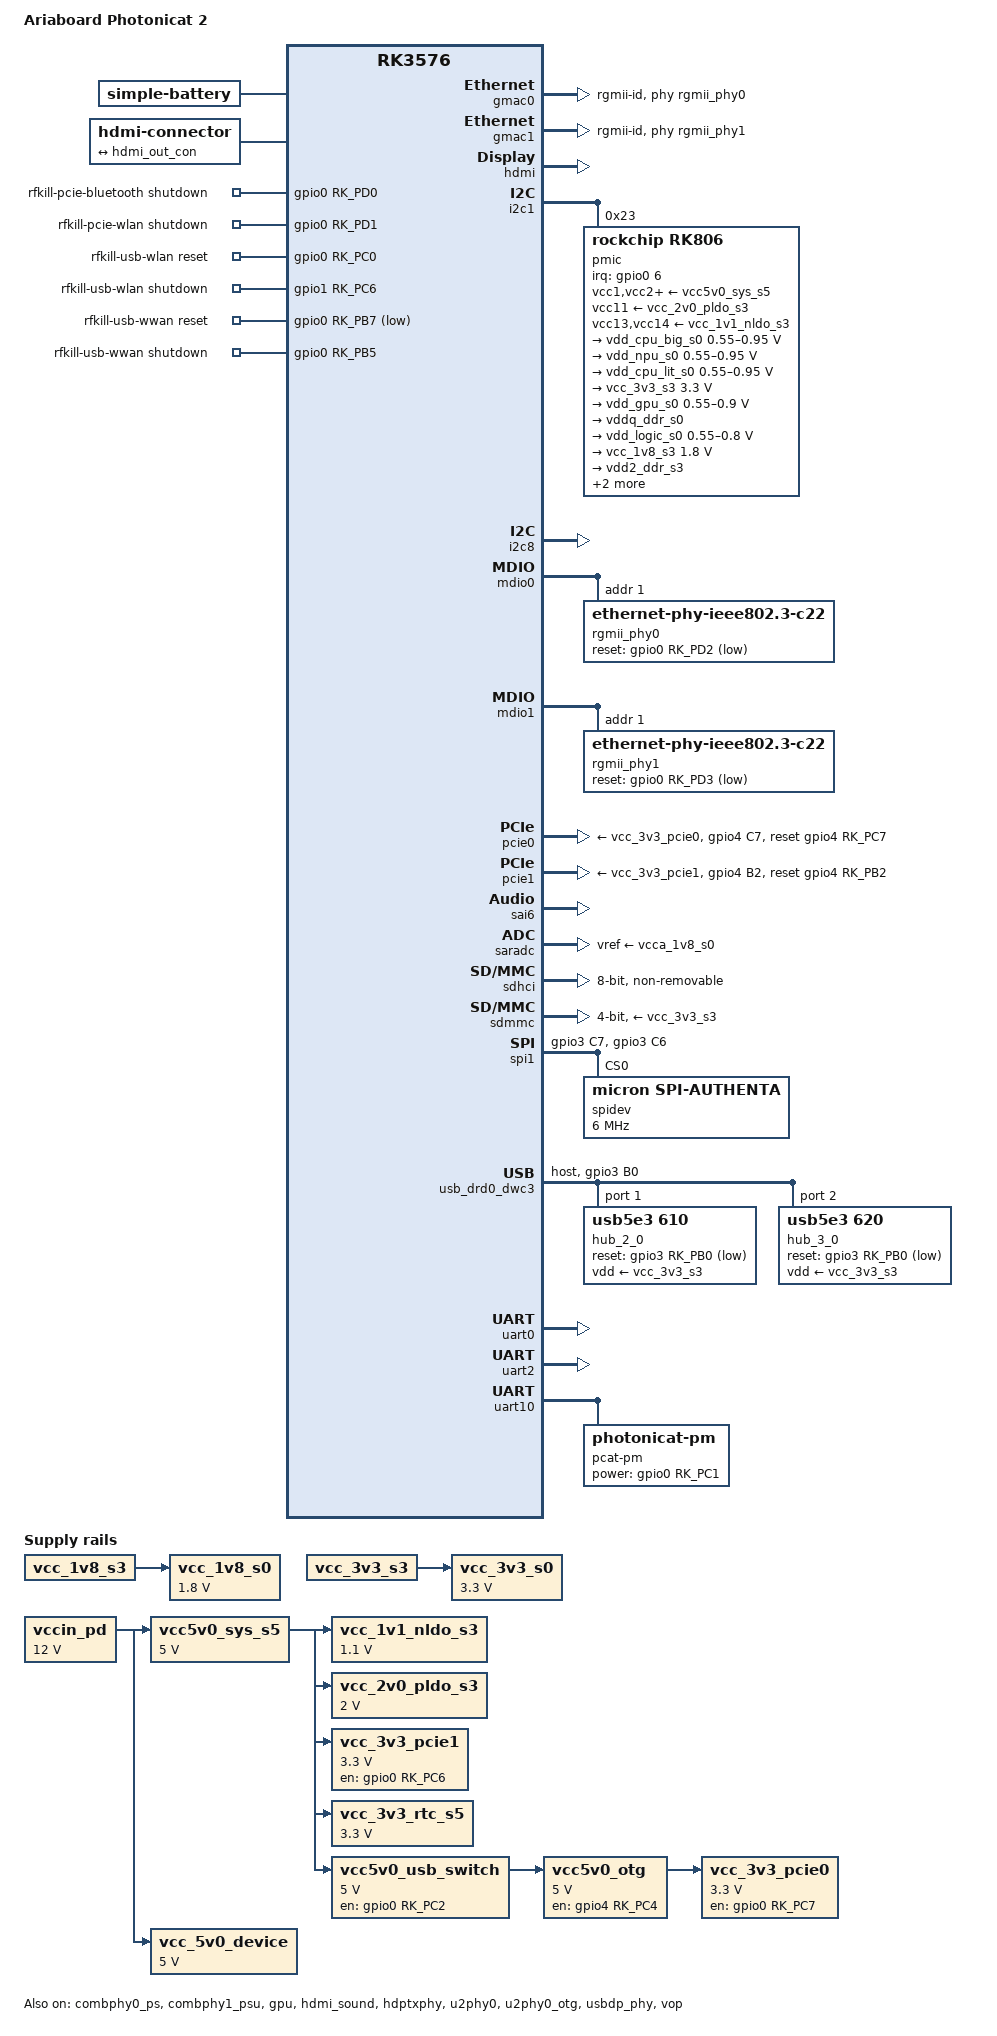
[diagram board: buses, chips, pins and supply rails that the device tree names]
// SPDX-License-Identifier: GPL-2.0-or-later OR MIT
/*
 * Copyright (c) 2024 Rockchip Electronics Co., Ltd.
 */

/dts-v1/;
#include <dt-bindings/gpio/gpio.h>
#include <dt-bindings/input/input.h>
#include <dt-bindings/leds/common.h>
#include <dt-bindings/pwm/pwm.h>
#include <dt-bindings/pinctrl/rockchip.h>
#include <dt-bindings/soc/rockchip,vop2.h>

#include "rk3576.dtsi"

/ {
	model = "Ariaboard Photonicat 2";
	compatible = "ariaboard,photonicat2", "rockchip,rk3576";

	aliases {
		ethernet0 = &gmac0;
		ethernet1 = &gmac1;
		mmc0 = &sdhci;
		mmc1 = &sdmmc;
	};

	chosen {
		stdout-path = "serial0:1500000n8";
	};

	battery: battery {
		compatible = "simple-battery";
		device-chemistry = "lithium-ion";
		voltage-min-design-microvolt = <6800000>;
		voltage-max-design-microvolt = <8400000>;
		energy-full-design-microwatt-hours = <51800000>;
		ocv-capacity-celsius = <20>;
		ocv-capacity-table-0 =  <8344000 100>, <8184000 95>, <8070000 90>, <7980000 85>,
					<7878000 80>, <7790000 75>, <7704000 70>, <7614000 65>,
					<7524000 60>, <7426000 55>, <7344000 50>, <7294000 45>,
					<7258000 40>, <7226000 35>, <7196000 30>, <7156000 25>,
					<7100000 20>, <7038000 15>, <6958000 10>, <6876000 5>,
					<6800000 0>;
	};

	hdmi-con {
		compatible = "hdmi-connector";
		type = "a";

		port {
			hdmi_con_in: endpoint {
				remote-endpoint = <&hdmi_out_con>;
			};
		};
	};

	vccin_pd: regulator-vccin-pd {
		compatible = "regulator-fixed";
		regulator-name = "vccin_pd";
		regulator-always-on;
		regulator-boot-on;
		regulator-min-microvolt = <12000000>;
		regulator-max-microvolt = <12000000>;
	};

	vcc5v0_sys_s5: regulator-vcc5v0-sys-s5 {
		compatible = "regulator-fixed";
		regulator-name = "vcc5v0_sys_s5";
		regulator-always-on;
		regulator-boot-on;
		regulator-min-microvolt = <5000000>;
		regulator-max-microvolt = <5000000>;
		vin-supply = <&vccin_pd>;
	};

	vcc_1v1_nldo_s3: regulator-vcc-1v1-nldo-s3 {
		compatible = "regulator-fixed";
		regulator-name = "vcc_1v1_nldo_s3";
		regulator-always-on;
		regulator-boot-on;
		regulator-min-microvolt = <1100000>;
		regulator-max-microvolt = <1100000>;
		vin-supply = <&vcc5v0_sys_s5>;
	};

	vcc_1v8_s0: regulator-vcc-1v8-s0 {
		compatible = "regulator-fixed";
		regulator-name = "vcc_1v8_s0";
		regulator-always-on;
		regulator-boot-on;
		regulator-min-microvolt = <1800000>;
		regulator-max-microvolt = <1800000>;
		vin-supply = <&vcc_1v8_s3>;
	};

	vcc_2v0_pldo_s3: regulator-vcc-2v0-pldo-s3 {
		compatible = "regulator-fixed";
		regulator-name = "vcc_2v0_pldo_s3";
		regulator-always-on;
		regulator-boot-on;
		regulator-min-microvolt = <2000000>;
		regulator-max-microvolt = <2000000>;
		vin-supply = <&vcc5v0_sys_s5>;
	};

	vcc_3v3_pcie0: regulator-vcc-3v3-pcie0 {
		compatible = "regulator-fixed";
		enable-active-high;
		gpios = <&gpio0 RK_PC7 GPIO_ACTIVE_HIGH>;
		pinctrl-names = "default";
		pinctrl-0 = <&pcie0_pwren_h>;
		regulator-name = "vcc_3v3_pcie0";
		regulator-min-microvolt = <3300000>;
		regulator-max-microvolt = <3300000>;
		startup-delay-us = <5000>;
		vin-supply = <&vcc5v0_otg>;
	};

	vcc_3v3_pcie1: regulator-vcc-3v3-pcie1 {
		compatible = "regulator-fixed";
		enable-active-high;
		gpios = <&gpio0 RK_PC6 GPIO_ACTIVE_HIGH>;
		pinctrl-names = "default";
		pinctrl-0 = <&pcie1_pwren_h>;
		regulator-name = "vcc_3v3_pcie1";
		regulator-min-microvolt = <3300000>;
		regulator-max-microvolt = <3300000>;
		startup-delay-us = <5000>;
		vin-supply = <&vcc5v0_sys_s5>;
	};

	vcc_3v3_rtc_s5: regulator-vcc-3v3-rtc-s5 {
		compatible = "regulator-fixed";
		regulator-name = "vcc_3v3_rtc_s5";
		regulator-always-on;
		regulator-boot-on;
		regulator-min-microvolt = <3300000>;
		regulator-max-microvolt = <3300000>;
		vin-supply = <&vcc5v0_sys_s5>;
	};

	vcc_3v3_s0: regulator-vcc-3v3-s0 {
		compatible = "regulator-fixed";
		regulator-name = "vcc_3v3_s0";
		regulator-always-on;
		regulator-boot-on;
		regulator-min-microvolt = <3300000>;
		regulator-max-microvolt = <3300000>;
		vin-supply = <&vcc_3v3_s3>;
	};

	vcc_5v0_device: regulator-vcc-5v0-device {
		compatible = "regulator-fixed";
		regulator-name = "vcc_5v0_device";
		regulator-always-on;
		regulator-boot-on;
		regulator-min-microvolt = <5000000>;
		regulator-max-microvolt = <5000000>;
		vin-supply = <&vccin_pd>;
	};

	vcc5v0_otg: regulator-vcc5v0-otg {
		compatible = "regulator-fixed";
		enable-active-high;
		gpios = <&gpio4 RK_PC4 GPIO_ACTIVE_HIGH>;
		pinctrl-names = "default";
		pinctrl-0 = <&usb_otg0_pwren_h>;
		regulator-name = "vcc5v0_otg";
		regulator-min-microvolt = <5000000>;
		regulator-max-microvolt = <5000000>;
		vin-supply = <&vcc5v0_usb_switch>;
	};

	vcc5v0_usb_switch: vcc5v0-usb-switch {
		compatible = "regulator-fixed";
		regulator-name = "vcc5v0_usb_switch";
		regulator-min-microvolt = <5000000>;
		regulator-max-microvolt = <5000000>;
		enable-active-high;
		gpio = <&gpio0 RK_PC2 GPIO_ACTIVE_HIGH>;
		pinctrl-names = "default";
		pinctrl-0 = <&gpio0_c2>;
		vin-supply = <&vcc5v0_sys_s5>;
	};

	rfkill-pcie-bluetooth {
		compatible = "rfkill-gpio";
		label = "rfkill-pcie-bluetooth";
		pinctrl-names = "default";
		pinctrl-0 = <&m2_bt_en>;
		radio-type = "bluetooth";
		shutdown-gpios = <&gpio0 RK_PD0 GPIO_ACTIVE_HIGH>;
	};

	rfkill-pcie-wlan {
		compatible = "rfkill-gpio";
		label = "rfkill-pcie-wlan";
		pinctrl-names = "default";
		pinctrl-0 = <&m2_wlan_en>;
		radio-type = "wlan";
		shutdown-gpios = <&gpio0 RK_PD1 GPIO_ACTIVE_HIGH>;
	};

	rfkill-usb-wlan {
		compatible = "rfkill-gpio";
		label = "rfkill-usb-wlan";
		pinctrl-names = "default";
		pinctrl-0 = <&rf_pwr_en_n>;
		radio-type = "wlan";
		reset-gpios = <&gpio0 RK_PC0 GPIO_ACTIVE_HIGH>;
		shutdown-gpios = <&gpio1 RK_PC6 GPIO_ACTIVE_HIGH>;
	};

	rfkill-usb-wwan {
		compatible = "rfkill-gpio";
		label = "rfkill-usb-wwan";
		pinctrl-names = "default";
		pinctrl-0 = <&rst_5g_1v8_h>;
		radio-type = "wwan";
		reset-gpios = <&gpio0 RK_PB7 GPIO_ACTIVE_LOW>;
		shutdown-gpios = <&gpio0 RK_PB5 GPIO_ACTIVE_HIGH>;
	};
};

&combphy0_ps {
	status = "okay";
};

&combphy1_psu {
	status = "okay";
};

&cpu_b0 {
	cpu-supply = <&vdd_cpu_big_s0>;
};

&cpu_b1 {
	cpu-supply = <&vdd_cpu_big_s0>;
};

&cpu_b2 {
	cpu-supply = <&vdd_cpu_big_s0>;
};

&cpu_b3 {
	cpu-supply = <&vdd_cpu_big_s0>;
};

&cpu_l0 {
	cpu-supply = <&vdd_cpu_lit_s0>;
};

&cpu_l1 {
	cpu-supply = <&vdd_cpu_lit_s0>;
};

&cpu_l2 {
	cpu-supply = <&vdd_cpu_lit_s0>;
};

&cpu_l3 {
	cpu-supply = <&vdd_cpu_lit_s0>;
};

&gmac0 {
	clock_in_out = "output";
	phy-handle = <&rgmii_phy0>;
	phy-mode = "rgmii-id";
	pinctrl-names = "default";
	pinctrl-0 = <&eth0m1_miim
		     &eth0m1_tx_bus2
		     &eth0m1_rx_bus2
		     &eth0m1_rgmii_clk
		     &eth0m1_rgmii_bus
		     &ethm1_clk0_25m_out>;
	status = "okay";
};

&gmac1 {
	clock_in_out = "output";
	phy-handle = <&rgmii_phy1>;
	phy-mode = "rgmii-id";
	pinctrl-names = "default";
	pinctrl-0 = <&eth1m0_miim
		     &eth1m0_tx_bus2
		     &eth1m0_rx_bus2
		     &eth1m0_rgmii_clk
		     &eth1m0_rgmii_bus
		     &ethm0_clk1_25m_out>;
	status = "okay";
};

&gpu {
	mali-supply = <&vdd_gpu_s0>;
	status = "okay";
};

&hdmi {
	enable-gpios = <&gpio4 RK_PA6 GPIO_ACTIVE_HIGH>;
	status = "okay";
};

&hdmi_in {
	hdmi_in_vp0: endpoint {
		remote-endpoint = <&vp0_out_hdmi>;
	};
};

&hdmi_out {
	hdmi_out_con: endpoint {
		remote-endpoint = <&hdmi_con_in>;
	};
};

&hdmi_sound {
	status = "okay";
};

&hdptxphy {
	status = "okay";
};

&i2c1 {
	status = "okay";

	pmic@23 {
		compatible = "rockchip,rk806";
		reg = <0x23>;
		gpio-controller;
		#gpio-cells = <2>;
		interrupt-parent = <&gpio0>;
		interrupts = <6 IRQ_TYPE_LEVEL_LOW>;
		pinctrl-names = "default";
		pinctrl-0 = <&pmic_pins>, <&rk806_dvs1_null>,
			    <&rk806_dvs2_null>, <&rk806_dvs3_null>;
		system-power-controller;

		vcc1-supply = <&vcc5v0_sys_s5>;
		vcc2-supply = <&vcc5v0_sys_s5>;
		vcc3-supply = <&vcc5v0_sys_s5>;
		vcc4-supply = <&vcc5v0_sys_s5>;
		vcc5-supply = <&vcc5v0_sys_s5>;
		vcc6-supply = <&vcc5v0_sys_s5>;
		vcc7-supply = <&vcc5v0_sys_s5>;
		vcc8-supply = <&vcc5v0_sys_s5>;
		vcc9-supply = <&vcc5v0_sys_s5>;
		vcc10-supply = <&vcc5v0_sys_s5>;
		vcc11-supply = <&vcc_2v0_pldo_s3>;
		vcc12-supply = <&vcc5v0_sys_s5>;
		vcc13-supply = <&vcc_1v1_nldo_s3>;
		vcc14-supply = <&vcc_1v1_nldo_s3>;
		vcca-supply = <&vcc5v0_sys_s5>;

		rk806_dvs1_null: dvs1-null-pins {
			pins = "gpio_pwrctrl1";
			function = "pin_fun0";
		};

		rk806_dvs1_pwrdn: dvs1-pwrdn-pins {
			pins = "gpio_pwrctrl1";
			function = "pin_fun2";
		};

		rk806_dvs1_rst: dvs1-rst-pins {
			pins = "gpio_pwrctrl1";
			function = "pin_fun3";
		};

		rk806_dvs1_slp: dvs1-slp-pins {
			pins = "gpio_pwrctrl1";
			function = "pin_fun1";
		};

		rk806_dvs2_dvs: dvs2-dvs-pins {
			pins = "gpio_pwrctrl2";
			function = "pin_fun4";
		};

		rk806_dvs2_gpio: dvs2-gpio-pins {
			pins = "gpio_pwrctrl2";
			function = "pin_fun5";
		};

		rk806_dvs2_null: dvs2-null-pins {
			pins = "gpio_pwrctrl2";
			function = "pin_fun0";
		};

		rk806_dvs2_pwrdn: dvs2-pwrdn-pins {
			pins = "gpio_pwrctrl2";
			function = "pin_fun2";
		};

		rk806_dvs2_rst: dvs2-rst-pins {
			pins = "gpio_pwrctrl2";
			function = "pin_fun3";
		};

		rk806_dvs2_slp: dvs2-slp-pins {
			pins = "gpio_pwrctrl2";
			function = "pin_fun1";
		};

		rk806_dvs3_dvs: dvs3-dvs-pins {
			pins = "gpio_pwrctrl3";
			function = "pin_fun4";
		};

		rk806_dvs3_gpio: dvs3-gpio-pins {
			pins = "gpio_pwrctrl3";
			function = "pin_fun5";
		};

		rk806_dvs3_null: dvs3-null-pins {
			pins = "gpio_pwrctrl3";
			function = "pin_fun0";
		};

		rk806_dvs3_pwrdn: dvs3-pwrdn-pins {
			pins = "gpio_pwrctrl3";
			function = "pin_fun2";
		};

		rk806_dvs3_rst: dvs3-rst-pins {
			pins = "gpio_pwrctrl3";
			function = "pin_fun3";
		};

		rk806_dvs3_slp: dvs3-slp-pins {
			pins = "gpio_pwrctrl3";
			function = "pin_fun1";
		};

		regulators {
			vdd_cpu_big_s0: dcdc-reg1 {
				regulator-always-on;
				regulator-boot-on;
				regulator-min-microvolt = <550000>;
				regulator-max-microvolt = <950000>;
				regulator-ramp-delay = <12500>;
				regulator-name = "vdd_cpu_big_s0";
				regulator-enable-ramp-delay = <400>;

				regulator-state-mem {
					regulator-off-in-suspend;
				};
			};

			vdd_npu_s0: dcdc-reg2 {
				regulator-boot-on;
				regulator-min-microvolt = <550000>;
				regulator-max-microvolt = <950000>;
				regulator-ramp-delay = <12500>;
				regulator-enable-ramp-delay = <400>;
				regulator-name = "vdd_npu_s0";

				regulator-state-mem {
					regulator-off-in-suspend;
				};
			};

			vdd_cpu_lit_s0: dcdc-reg3 {
				regulator-always-on;
				regulator-boot-on;
				regulator-min-microvolt = <550000>;
				regulator-max-microvolt = <950000>;
				regulator-name = "vdd_cpu_lit_s0";
				regulator-ramp-delay = <12500>;

				regulator-state-mem {
					regulator-off-in-suspend;
					regulator-suspend-microvolt = <750000>;
				};
			};

			vcc_3v3_s3: dcdc-reg4 {
				regulator-always-on;
				regulator-boot-on;
				regulator-min-microvolt = <3300000>;
				regulator-max-microvolt = <3300000>;
				regulator-name = "vcc_3v3_s3";

				regulator-state-mem {
					regulator-on-in-suspend;
					regulator-suspend-microvolt = <3300000>;
				};
			};

			vdd_gpu_s0: dcdc-reg5 {
				regulator-boot-on;
				regulator-min-microvolt = <550000>;
				regulator-max-microvolt = <900000>;
				regulator-ramp-delay = <12500>;
				regulator-name = "vdd_gpu_s0";
				regulator-enable-ramp-delay = <400>;

				regulator-state-mem {
					regulator-off-in-suspend;
					regulator-suspend-microvolt = <850000>;
				};
			};

			vddq_ddr_s0: dcdc-reg6 {
				regulator-always-on;
				regulator-boot-on;
				regulator-name = "vddq_ddr_s0";

				regulator-state-mem {
					regulator-off-in-suspend;
				};
			};

			vdd_logic_s0: dcdc-reg7 {
				regulator-always-on;
				regulator-boot-on;
				regulator-min-microvolt = <550000>;
				regulator-max-microvolt = <800000>;
				regulator-name = "vdd_logic_s0";

				regulator-state-mem {
					regulator-off-in-suspend;
				};
			};

			vcc_1v8_s3: dcdc-reg8 {
				regulator-always-on;
				regulator-boot-on;
				regulator-min-microvolt = <1800000>;
				regulator-max-microvolt = <1800000>;
				regulator-name = "vcc_1v8_s3";

				regulator-state-mem {
					regulator-on-in-suspend;
					regulator-suspend-microvolt = <1800000>;
				};
			};

			vdd2_ddr_s3: dcdc-reg9 {
				regulator-always-on;
				regulator-boot-on;
				regulator-name = "vdd2_ddr_s3";

				regulator-state-mem {
					regulator-on-in-suspend;
				};
			};

			vdd_ddr_s0: dcdc-reg10 {
				regulator-always-on;
				regulator-boot-on;
				regulator-min-microvolt = <550000>;
				regulator-max-microvolt = <1200000>;
				regulator-name = "vdd_ddr_s0";

				regulator-state-mem {
					regulator-off-in-suspend;
				};
			};

			vcca_1v8_s0: pldo-reg1 {
				regulator-always-on;
				regulator-boot-on;
				regulator-min-microvolt = <1800000>;
				regulator-max-microvolt = <1800000>;
				regulator-name = "vcca_1v8_s0";

				regulator-state-mem {
					regulator-off-in-suspend;
				};
			};

			vcca1v8_pldo2_s0: pldo-reg2 {
				regulator-always-on;
				regulator-boot-on;
				regulator-min-microvolt = <1800000>;
				regulator-max-microvolt = <1800000>;
				regulator-name = "vcca1v8_pldo2_s0";

				regulator-state-mem {
					regulator-off-in-suspend;
				};
			};

			vdda_1v2_s0: pldo-reg3 {
				regulator-always-on;
				regulator-boot-on;
				regulator-min-microvolt = <1200000>;
				regulator-max-microvolt = <1200000>;
				regulator-name = "vdda_1v2_s0";

				regulator-state-mem {
					regulator-off-in-suspend;
				};
			};

			vcca_3v3_s0: pldo-reg4 {
				regulator-always-on;
				regulator-boot-on;
				regulator-min-microvolt = <3300000>;
				regulator-max-microvolt = <3300000>;
				regulator-name = "vcca_3v3_s0";

				regulator-state-mem {
					regulator-off-in-suspend;
				};
			};

			vccio_sd_s0: pldo-reg5 {
				regulator-always-on;
				regulator-boot-on;
				regulator-min-microvolt = <1800000>;
				regulator-max-microvolt = <3300000>;
				regulator-name = "vccio_sd_s0";

				regulator-state-mem {
					regulator-off-in-suspend;
				};
			};

			vcca1v8_pldo6_s3: pldo-reg6 {
				regulator-always-on;
				regulator-boot-on;
				regulator-min-microvolt = <1800000>;
				regulator-max-microvolt = <1800000>;
				regulator-name = "vcca1v8_pldo6_s3";

				regulator-state-mem {
					regulator-on-in-suspend;
					regulator-suspend-microvolt = <1800000>;
				};
			};

			vdd_0v75_s3: nldo-reg1 {
				regulator-always-on;
				regulator-boot-on;
				regulator-min-microvolt = <750000>;
				regulator-max-microvolt = <750000>;
				regulator-name = "vdd_0v75_s3";

				regulator-state-mem {
					regulator-on-in-suspend;
					regulator-suspend-microvolt = <750000>;
				};
			};

			vdda_ddr_pll_s0: nldo-reg2 {
				regulator-always-on;
				regulator-boot-on;
				regulator-min-microvolt = <850000>;
				regulator-max-microvolt = <850000>;
				regulator-name = "vdda_ddr_pll_s0";

				regulator-state-mem {
					regulator-off-in-suspend;
				};
			};

			vdda0v75_hdmi_s0: nldo-reg3 {
				regulator-always-on;
				regulator-boot-on;
				regulator-min-microvolt = <837500>;
				regulator-max-microvolt = <837500>;
				regulator-name = "vdda0v75_hdmi_s0";

				regulator-state-mem {
					regulator-off-in-suspend;
				};
			};

			vdda_0v85_s0: nldo-reg4 {
				regulator-always-on;
				regulator-boot-on;
				regulator-min-microvolt = <850000>;
				regulator-max-microvolt = <850000>;
				regulator-name = "vdda_0v85_s0";

				regulator-state-mem {
					regulator-off-in-suspend;
				};
			};

			vdda_0v75_s0: nldo-reg5 {
				regulator-always-on;
				regulator-boot-on;
				regulator-min-microvolt = <750000>;
				regulator-max-microvolt = <750000>;
				regulator-name = "vdda_0v75_s0";

				regulator-state-mem {
					regulator-off-in-suspend;
				};
			};
		};
	};
};

&i2c8 {
	pinctrl-0 = <&i2c8m3_xfer>;
	status = "okay";
};

&mdio0 {
	rgmii_phy0: phy@1 {
		compatible = "ethernet-phy-ieee802.3-c22";
		reg = <1>;
		clocks = <&cru REFCLKO25M_GMAC0_OUT>;
		pinctrl-names = "default";
		pinctrl-0 = <&eth0_rstn_l>;
		reset-assert-us = <20000>;
		reset-deassert-us = <100000>;
		reset-gpios = <&gpio0 RK_PD2 GPIO_ACTIVE_LOW>;

		leds {
			#address-cells = <1>;
			#size-cells = <0>;

			led@1 {
				reg = <1>;
				color = <LED_COLOR_ID_GREEN>;
				function = LED_FUNCTION_LAN;
				default-state = "keep";
			};

			led@2 {
				reg = <2>;
				color = <LED_COLOR_ID_AMBER>;
				function = LED_FUNCTION_LAN;
				default-state = "keep";
			};
		};
	};
};

&mdio1 {
	rgmii_phy1: phy@1 {
		compatible = "ethernet-phy-ieee802.3-c22";
		reg = <1>;
		clocks = <&cru REFCLKO25M_GMAC1_OUT>;
		pinctrl-names = "default";
		pinctrl-0 = <&eth1_rstn_l>;
		reset-assert-us = <20000>;
		reset-deassert-us = <100000>;
		reset-gpios = <&gpio0 RK_PD3 GPIO_ACTIVE_LOW>;

		leds {
			#address-cells = <1>;
			#size-cells = <0>;

			led@1 {
				reg = <1>;
				color = <LED_COLOR_ID_GREEN>;
				function = LED_FUNCTION_LAN;
				default-state = "keep";
			};

			led@2 {
				reg = <2>;
				color = <LED_COLOR_ID_AMBER>;
				function = LED_FUNCTION_LAN;
				default-state = "keep";
			};
		};
	};
};

&pcie0 {
	pinctrl-names = "default";
	pinctrl-0 = <&pcie0_perstn>;
	reset-gpios = <&gpio4 RK_PC7 GPIO_ACTIVE_HIGH>;
	vpcie3v3-supply = <&vcc_3v3_pcie0>;
	status = "okay";
};

&pcie1 {
	pinctrl-names = "default";
	pinctrl-0 = <&pcie1_perstn &pcie1m2_pins>;
	reset-gpios = <&gpio4 RK_PB2 GPIO_ACTIVE_HIGH>;
	vpcie3v3-supply = <&vcc_3v3_pcie1>;
	status = "okay";
};

&pinctrl {
	gmac0 {
		eth0_rstn_l: eth0-rstn-l {
			rockchip,pins = <0 RK_PD2 RK_FUNC_GPIO &pcfg_pull_down>;
		};
	};

	gmac1 {
		eth1_rstn_l: eth1-rstn-l {
			rockchip,pins = <0 RK_PD3 RK_FUNC_GPIO &pcfg_pull_down>;
		};
	};

	spi1 {
		spi1m2_1_pins: spi1m2-1-pins {
			rockchip,pins =
				/* spi1_clk_m2 */
				<3 RK_PC7 10 &pcfg_pull_none>,
				/* spi1_mosi_m2 */
				<3 RK_PC6 10 &pcfg_pull_none>;
		};
	};

	pcie {
		pcie0_perstn: pcie0-perstn {
			rockchip,pins = <4 RK_PC7 RK_FUNC_GPIO &pcfg_pull_up>;
		};

		pcie0_pwren_h: pcie0-pwren-h {
			rockchip,pins = <0 RK_PC7 RK_FUNC_GPIO &pcfg_pull_down>;
		};

		pcie1_perstn: pcie1-perstn {
			rockchip,pins = <4 RK_PB2 RK_FUNC_GPIO &pcfg_pull_up>;
		};

		pcie1_pwren_h: pcie1-pwren-h {
			rockchip,pins = <0 RK_PC6 RK_FUNC_GPIO &pcfg_pull_down>;
		};
	};

	rfkill {
		rst_5g_1v8_h: 5g-rst-1v8-h {
			rockchip,pins = <0 RK_PB7 RK_FUNC_GPIO &pcfg_pull_none>;
		};

		m2_bt_en: m2-bt-en {
			rockchip,pins = <0 RK_PD0 RK_FUNC_GPIO &pcfg_pull_down>;
		};

		m2_wlan_en: m2-wlan-en {
			rockchip,pins = <0 RK_PD1 RK_FUNC_GPIO &pcfg_pull_down>;
		};

		rf_pwr_en_n: rf-pwr-en-n {
			rockchip,pins = <1 RK_PC6 RK_FUNC_GPIO &pcfg_pull_down>;
		};
	};

	usb {
		gpio0_c2: gpio0-c2 {
			rockchip,pins = <0 RK_PC2 RK_FUNC_GPIO &pcfg_pull_none>;
		};

		pwm2_ch1_m3: pwm2-ch1-m3 {
			rockchip,pins = <3 RK_PB0 RK_FUNC_GPIO &pcfg_pull_up>;
		};

		usb_otg0_pwren_h: usb-otg0-pwren-h {
			rockchip,pins = <4 RK_PC4 RK_FUNC_GPIO &pcfg_pull_none>;
		};
	};
};

&sai6 {
	status = "okay";
};

&saradc {
	vref-supply = <&vcca_1v8_s0>;
	status = "okay";
};

&sdhci {
	bus-width = <8>;
	cap-mmc-highspeed;
	full-pwr-cycle-in-suspend;
	max-frequency = <150000000>;
	mmc-hs400-1_8v;
	mmc-hs400-enhanced-strobe;
	no-sdio;
	no-sd;
	non-removable;
	/delete-property/ supports-cqe;
	status = "okay";
};

&sdmmc {
	bus-width = <4>;
	cap-mmc-highspeed;
	cap-sd-highspeed;
	disable-wp;
	no-mmc;
	no-sdio;
	sd-uhs-sdr104;
	vmmc-supply = <&vcc_3v3_s3>;
	vqmmc-supply = <&vccio_sd_s0>;
	status = "okay";
};

&spi1 {
	pinctrl-0 = <&spi1m2_csn0 &spi1m2_1_pins>;
	status = "okay";

	spidev@0 {
		compatible = "micron,spi-authenta";
		reg = <0>;
		spi-max-frequency = <6000000>;
	};
};

&u2phy0 {
	status = "okay";
};

&u2phy0_otg {
	phy-supply = <&vcc5v0_otg>;
	status = "okay";
};

&usbdp_phy {
	status = "okay";
};

&usb_drd0_dwc3 {
	dr_mode = "host";
	pinctrl-names = "default";
	pinctrl-0 = <&pwm2_ch1_m3>;
	#address-cells = <1>;
	#size-cells = <0>;
	status = "okay";

	hub_2_0: hub@1 {
		compatible = "usb5e3,610";
		reg = <1>;
		peer-hub = <&hub_3_0>;
		reset-gpios = <&gpio3 RK_PB0 GPIO_ACTIVE_LOW>;
		vdd-supply = <&vcc_3v3_s3>;
	};

	hub_3_0: hub@2 {
		compatible = "usb5e3,620";
		reg = <2>;
		peer-hub = <&hub_2_0>;
		reset-gpios = <&gpio3 RK_PB0 GPIO_ACTIVE_LOW>;
		vdd-supply = <&vcc_3v3_s3>;
	};
};

&uart0 {
	status = "okay";
};

&uart2 {
	pinctrl-0 = <&uart2m2_xfer>;
	status = "okay";
};

&uart10 {
	pinctrl-0 = <&uart10m2_xfer>;
	status = "okay";

	pcat-pm {
		compatible = "photonicat-pm";
		baudrate = <115200>;
		force-poweroff-timeout = <60>;
		pm-version = <2>;
		power-gpio = <&gpio0 RK_PC1 GPIO_ACTIVE_HIGH>;

		charger {
			monitored-battery = <&battery>;
		};
	};
};

&vop {
	status = "okay";
};

&vop_mmu {
	status = "okay";
};

&vp0 {
	vp0_out_hdmi: endpoint@ROCKCHIP_VOP2_EP_HDMI0 {
		reg = <ROCKCHIP_VOP2_EP_HDMI0>;
		remote-endpoint = <&hdmi_in_vp0>;
	};
};
